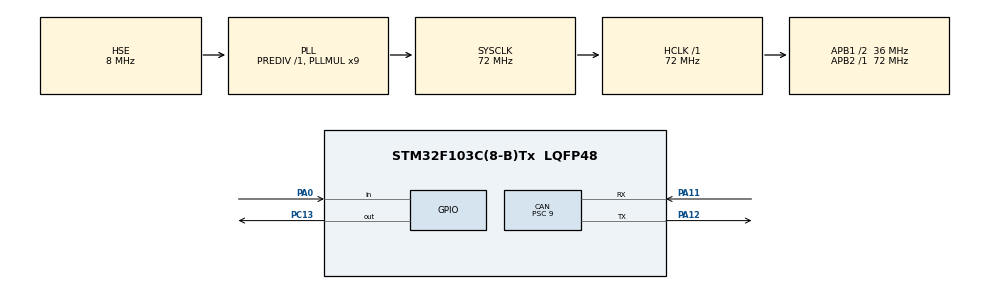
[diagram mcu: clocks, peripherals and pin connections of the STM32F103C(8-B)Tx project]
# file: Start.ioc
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CAN.AWUM=ENABLE
CAN.BS1=CAN_BS1_13TQ
CAN.BS2=CAN_BS2_2TQ
CAN.CalculateTimeBit=4000
CAN.CalculateTimeQuantum=250.0
CAN.Prescaler=9
Mcu.Family=STM32F1
Mcu.Name=STM32F103C(8-B)Tx
Mcu.Package=LQFP48
NVIC.CAN1_SCE_IRQn=true\:0\:0\:false\:false\:true\:true\:true
NVIC.PriorityGroup=NVIC_PRIORITYGROUP_4
NVIC.USB_LP_CAN1_RX0_IRQn=true\:0\:0\:false\:false\:true\:true\:true
PA0-WKUP.GPIO_PuPd=GPIO_PULLUP
PA0-WKUP.Signal=GPIO_Input
PA11.Mode=Master
PA11.Signal=CAN_RX
PA12.Mode=Master
PA12.Signal=CAN_TX
PA13.Mode=Serial_Wire
PA13.Signal=SYS_JTMS-SWDIO
PA14.Mode=Serial_Wire
PA14.Signal=SYS_JTCK-SWCLK
PC13-TAMPER-RTC.Signal=GPIO_Output
PD0-OSC_IN.Mode=HSE-External-Oscillator
PD0-OSC_IN.Signal=RCC_OSC_IN
PD1-OSC_OUT.Mode=HSE-External-Oscillator
PD1-OSC_OUT.Signal=RCC_OSC_OUT
ProjectManager.HeapSize=0x200
ProjectManager.StackSize=0x400
ProjectManager.TargetToolchain=MDK-ARM V5.27
RCC.AHBFreq_Value=72000000
RCC.APB1CLKDivider=RCC_HCLK_DIV2
RCC.APB1Freq_Value=36000000
RCC.APB1TimFreq_Value=72000000
RCC.APB2Freq_Value=72000000
RCC.APB2TimFreq_Value=72000000
RCC.HCLKFreq_Value=72000000
RCC.PLLMUL=RCC_PLL_MUL9
RCC.PLLSourceVirtual=RCC_PLLSOURCE_HSE
RCC.SYSCLKFreq_VALUE=72000000
RCC.SYSCLKSource=RCC_SYSCLKSOURCE_PLLCLK
RCC.USBFreq_Value=72000000
board=custom

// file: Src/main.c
/* USER CODE BEGIN Header */
/**
  ******************************************************************************
  * @file           : main.c
  * @brief          : Main program body
  ******************************************************************************
  * @attention
  *
  * <h2><center>&copy; Copyright (c) 2020 STMicroelectronics.
  * All rights reserved.</center></h2>
  *
  * This software component is licensed by ST under BSD 3-Clause license,
  * the "License"; You may not use this file except in compliance with the
  * License. You may obtain a copy of the License at:
  *                        opensource.org/licenses/BSD-3-Clause
  *
  ******************************************************************************
  */
/* USER CODE END Header */

#include "main.h"

CAN_HandleTypeDef hcan;

/* USER CODE BEGIN PV */
CAN_TxHeaderTypeDef TxHeader;
CAN_RxHeaderTypeDef RxHeader;
CAN_FilterTypeDef canFilterConfig;

uint8_t tx_buf[4] = {0x01, 0xDF, 0xC5, 0xD1};
uint8_t rx_buf[8] = {0};
uint8_t rx_buf_FMI[8][8] = {0};
uint8_t flag = 0;
uint32_t freq_a, freq_b;
uint32_t TxMailbox;
HAL_StatusTypeDef TxStatus;
uint16_t uSendLimit;
uint16_t can_rx_counter = 0;
uint32_t can_sleep = 0;
typedef struct
{
	uint16_t can_rx;
	uint16_t can_rx_insec;
	uint8_t wakeup;
}counter_t;
counter_t counter;
/* USER CODE END PV */

void SystemClock_Config(void);
static void MX_GPIO_Init(void);
static void MX_CAN_Init(void);
/* USER CODE BEGIN PFP */
void HAL_CAN_RxFIFO0MsgPendingCallback(CAN_HandleTypeDef* hcan)
{
	if (HAL_CAN_GetRxMessage(hcan, CAN_RX_FIFO0, &RxHeader, rx_buf) != HAL_OK)
	{
		//HAL_GPIO_TogglePin(GPIOC, GPIO_PIN_13);
	}
	HAL_GPIO_TogglePin(GPIOC, GPIO_PIN_13);
	for (uint8_t i = 0; i < RxHeader.DLC; i++)
	{
		rx_buf_FMI[RxHeader.FilterMatchIndex][i] = rx_buf[i];
	}
	counter.can_rx++;
}
void HAL_CAN_WakeUpFromRxMsgCallback(CAN_HandleTypeDef *hcan)
{
	counter.wakeup++;
	HAL_CAN_WakeUp(hcan);
	can_sleep = HAL_CAN_IsSleepActive(hcan);	//don*t wakeup without this status request
}
/*void HAL_CAN_TxCpltCallback(CAN_HandleTypeDef* hcan)
{
	HAL_GPIO_TogglePin(GPIOC, GPIO_PIN_13);
}*/
void HAL_CAN_ErrorCallback(CAN_HandleTypeDef *hcan)
{
	HAL_GPIO_TogglePin(GPIOC, GPIO_PIN_13);
	HAL_CAN_GetError(hcan);
	HAL_CAN_ResetError(hcan);
}
/* USER CODE END PFP */

int main(void)
{

  /* MCU Configuration--------------------------------------------------------*/

  /* Reset of all peripherals, Initializes the Flash interface and the Systick. */
   HAL_Init();

  /* Configure the system clock */
  SystemClock_Config();

  /* Initialize all configured peripherals */
  MX_GPIO_Init();
  MX_CAN_Init();
  /* USER CODE BEGIN 2 */
	canFilterConfig.FilterBank = 0;	/*!< Specifies the filter which will be initialized.
                                       This parameter must be a number between Min_Data = 0 and Max_Data = 13. */
  canFilterConfig.FilterMode = CAN_FILTERMODE_IDLIST;	//CAN_FILTERMODE_IDLIST or CAN_FILTERMODE_IDMASK
  canFilterConfig.FilterScale = CAN_FILTERSCALE_16BIT;	//CAN_FILTERSCALE_16BIT or CAN_FILTERSCALE_32BIT
  canFilterConfig.FilterIdHigh = 0x00C1 << 5;	// идентификатор №1
  canFilterConfig.FilterIdLow = 0x00C2 << 5;	// идентификатор №2
  canFilterConfig.FilterMaskIdHigh = 0x00C3 << 5;	// идентификатор №3
  canFilterConfig.FilterMaskIdLow = 0x00C4 << 5;	// идентификатор №4
  canFilterConfig.FilterFIFOAssignment = CAN_FILTER_FIFO0;
  canFilterConfig.FilterActivation = ENABLE;
  /*canFilterConfig.BankNumber = 0;*/	/*!< Select the start slave bank filter
                                       This parameter must be a number between Min_Data = 0 and Max_Data = 28. */
	HAL_CAN_ConfigFilter(&hcan, &canFilterConfig);

	canFilterConfig.FilterBank = 1;	/*!< Specifies the filter which will be initialized.
                                       This parameter must be a number between Min_Data = 0 and Max_Data = 13. */
  canFilterConfig.FilterMode = CAN_FILTERMODE_IDLIST;	//CAN_FILTERMODE_IDLIST or CAN_FILTERMODE_IDMASK
  canFilterConfig.FilterScale = CAN_FILTERSCALE_16BIT;	//CAN_FILTERSCALE_16BIT or CAN_FILTERSCALE_32BIT
  canFilterConfig.FilterIdHigh = 0x00D1 << 5;	// идентификатор №1
  canFilterConfig.FilterIdLow = 0x00D2 << 5;	// идентификатор №2
  canFilterConfig.FilterMaskIdHigh = 0x00D3 << 5;	// идентификатор №3
  canFilterConfig.FilterMaskIdLow = 0x00D4 << 5;	// идентификатор №4
  canFilterConfig.FilterFIFOAssignment = CAN_FILTER_FIFO0;
  canFilterConfig.FilterActivation = ENABLE;
	HAL_CAN_ConfigFilter(&hcan, &canFilterConfig);
  /* USER CODE END 2 */

  /* Infinite loop */
  /* USER CODE BEGIN WHILE */
	HAL_CAN_ActivateNotification(&hcan, CAN_IT_RX_FIFO0_MSG_PENDING|CAN_IT_ERROR_WARNING|CAN_IT_ERROR_PASSIVE|CAN_IT_BUSOFF|CAN_IT_LAST_ERROR_CODE|CAN_IT_ERROR);
	HAL_CAN_RegisterCallback(&hcan, HAL_CAN_RX_FIFO0_MSG_PENDING_CB_ID, HAL_CAN_RxFIFO0MsgPendingCallback);

	HAL_CAN_ActivateNotification(&hcan,CAN_IT_WAKEUP);
	HAL_CAN_RegisterCallback(&hcan, HAL_CAN_WAKEUP_FROM_RX_MSG_CB_ID, HAL_CAN_WakeUpFromRxMsgCallback);
	HAL_CAN_Start(&hcan);
	freq_a = HAL_RCC_GetHCLKFreq();

	TxHeader.StdId = 0x0C1;             //
	TxHeader.ExtId = 0x00;                          //
	TxHeader.IDE = CAN_ID_STD ;                 //
	TxHeader.RTR = CAN_RTR_DATA;                    //
	TxHeader.DLC = 4;                               //

 counter.can_rx_insec = 0;
 HAL_DBGMCU_EnableDBGSleepMode();	//DBGMCU->CR |= DBGMCU_CR_DBG_SLEEP;
 HAL_CAN_RequestSleep(&hcan);
  while (1)
  {
		can_sleep = HAL_CAN_IsSleepActive(&hcan);
		if (!can_sleep)
		{
			if (HAL_CAN_GetTxMailboxesFreeLevel(&hcan) != 0)
			{
				uSendLimit = 0xFF;
				do
				{
					TxStatus = HAL_CAN_AddTxMessage(&hcan, &TxHeader, tx_buf, &TxMailbox);
				}
				while (TxStatus != HAL_OK && uSendLimit--);
				tx_buf[0]++;
			}
		}
		HAL_Delay(1000);
		counter.can_rx_insec = counter.can_rx;
		counter.can_rx = 0;

    /* USER CODE END WHILE */

  }
}

void SystemClock_Config(void)
{
  RCC_OscInitTypeDef RCC_OscInitStruct = {0};
  RCC_ClkInitTypeDef RCC_ClkInitStruct = {0};

  /** Initializes the CPU, AHB and APB busses clocks
  */
  RCC_OscInitStruct.OscillatorType = RCC_OSCILLATORTYPE_HSE;
  RCC_OscInitStruct.HSEState = RCC_HSE_ON;
  RCC_OscInitStruct.HSEPredivValue = RCC_HSE_PREDIV_DIV1;
  RCC_OscInitStruct.HSIState = RCC_HSI_ON;
  RCC_OscInitStruct.PLL.PLLState = RCC_PLL_ON;
  RCC_OscInitStruct.PLL.PLLSource = RCC_PLLSOURCE_HSE;
  RCC_OscInitStruct.PLL.PLLMUL = RCC_PLL_MUL9;
  if (HAL_RCC_OscConfig(&RCC_OscInitStruct) != HAL_OK)
  {
    Error_Handler();
  }
  /** Initializes the CPU, AHB and APB busses clocks
  */
  RCC_ClkInitStruct.ClockType = RCC_CLOCKTYPE_HCLK|RCC_CLOCKTYPE_SYSCLK
                              |RCC_CLOCKTYPE_PCLK1|RCC_CLOCKTYPE_PCLK2;
  RCC_ClkInitStruct.SYSCLKSource = RCC_SYSCLKSOURCE_PLLCLK;
  RCC_ClkInitStruct.AHBCLKDivider = RCC_SYSCLK_DIV1;
  RCC_ClkInitStruct.APB1CLKDivider = RCC_HCLK_DIV2;
  RCC_ClkInitStruct.APB2CLKDivider = RCC_HCLK_DIV1;

  if (HAL_RCC_ClockConfig(&RCC_ClkInitStruct, FLASH_LATENCY_2) != HAL_OK)
  {
    Error_Handler();
  }
}

static void MX_CAN_Init(void)
{

  hcan.Instance = CAN1;
  hcan.Init.Prescaler = 9;
  hcan.Init.Mode = CAN_MODE_NORMAL;
  hcan.Init.SyncJumpWidth = CAN_SJW_1TQ;
  hcan.Init.TimeSeg1 = CAN_BS1_13TQ;
  hcan.Init.TimeSeg2 = CAN_BS2_2TQ;
  hcan.Init.TimeTriggeredMode = DISABLE;
  hcan.Init.AutoBusOff = DISABLE;
  hcan.Init.AutoWakeUp = ENABLE;
  hcan.Init.AutoRetransmission = DISABLE;
  hcan.Init.ReceiveFifoLocked = DISABLE;
  hcan.Init.TransmitFifoPriority = DISABLE;
  if (HAL_CAN_Init(&hcan) != HAL_OK)
  {
    Error_Handler();
  }

}

static void MX_GPIO_Init(void)
{
  GPIO_InitTypeDef GPIO_InitStruct = {0};

  /* GPIO Ports Clock Enable */
  __HAL_RCC_GPIOC_CLK_ENABLE();
  __HAL_RCC_GPIOD_CLK_ENABLE();
  __HAL_RCC_GPIOA_CLK_ENABLE();
  __HAL_RCC_GPIOB_CLK_ENABLE();

  /*Configure GPIO pin Output Level */
  HAL_GPIO_WritePin(GPIOC, GPIO_PIN_13, GPIO_PIN_RESET);

  /*Configure GPIO pin : PC13 */
  GPIO_InitStruct.Pin = GPIO_PIN_13;
  GPIO_InitStruct.Mode = GPIO_MODE_OUTPUT_PP;
  GPIO_InitStruct.Pull = GPIO_NOPULL;
  GPIO_InitStruct.Speed = GPIO_SPEED_FREQ_LOW;
  HAL_GPIO_Init(GPIOC, &GPIO_InitStruct);

  /*Configure GPIO pins : PC14 PC15 */
  GPIO_InitStruct.Pin = GPIO_PIN_14|GPIO_PIN_15;
  GPIO_InitStruct.Mode = GPIO_MODE_ANALOG;
  HAL_GPIO_Init(GPIOC, &GPIO_InitStruct);

  /*Configure GPIO pin : PA0 */
  GPIO_InitStruct.Pin = GPIO_PIN_0;
  GPIO_InitStruct.Mode = GPIO_MODE_INPUT;
  GPIO_InitStruct.Pull = GPIO_PULLUP;
  HAL_GPIO_Init(GPIOA, &GPIO_InitStruct);

  /*Configure GPIO pins : PA1 PA2 PA3 PA4
                           PA5 PA6 PA7 PA8
                           PA9 PA10 PA15 */
  GPIO_InitStruct.Pin = GPIO_PIN_1|GPIO_PIN_2|GPIO_PIN_3|GPIO_PIN_4
                          |GPIO_PIN_5|GPIO_PIN_6|GPIO_PIN_7|GPIO_PIN_8
                          |GPIO_PIN_9|GPIO_PIN_10|GPIO_PIN_15;
  GPIO_InitStruct.Mode = GPIO_MODE_ANALOG;
  HAL_GPIO_Init(GPIOA, &GPIO_InitStruct);

  /*Configure GPIO pins : PB0 PB1 PB2 PB10
                           PB11 PB12 PB13 PB14
                           PB15 PB3 PB4 PB5
                           PB6 PB7 PB8 PB9 */
  GPIO_InitStruct.Pin = GPIO_PIN_0|GPIO_PIN_1|GPIO_PIN_2|GPIO_PIN_10
                          |GPIO_PIN_11|GPIO_PIN_12|GPIO_PIN_13|GPIO_PIN_14
                          |GPIO_PIN_15|GPIO_PIN_3|GPIO_PIN_4|GPIO_PIN_5
                          |GPIO_PIN_6|GPIO_PIN_7|GPIO_PIN_8|GPIO_PIN_9;
  GPIO_InitStruct.Mode = GPIO_MODE_ANALOG;
  HAL_GPIO_Init(GPIOB, &GPIO_InitStruct);

}

void Error_Handler(void)
{
}

/************************ (C) COPYRIGHT STMicroelectronics *****END OF FILE****/
